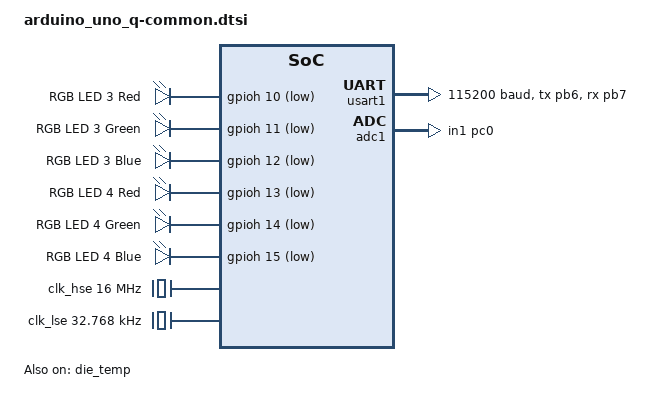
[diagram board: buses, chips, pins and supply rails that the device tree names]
/*
 * Copyright (c) 2021 Linaro Limited
 * Copyright (c) 2024 STMicroelectronics
 * Copyright (c) 2025 Arduino SA
 *
 * SPDX-License-Identifier: Apache-2.0
 */

#include <zephyr/dt-bindings/gpio/gpio.h>

/ {

	leds {
		compatible = "gpio-leds";

		led3_red: led3_red {
			gpios = <&gpioh 10 GPIO_ACTIVE_LOW>;
			label = "RGB LED 3 Red";
		};

		led3_green: led3_green {
			gpios = <&gpioh 11 GPIO_ACTIVE_LOW>;
			label = "RGB LED 3 Green";
		};

		led3_blue: led3_blue {
			gpios = <&gpioh 12 GPIO_ACTIVE_LOW>;
			label = "RGB LED 3 Blue";
		};

		led4_red: led4_red {
			gpios = <&gpioh 13 GPIO_ACTIVE_LOW>;
			label = "RGB LED 4 Red";
		};

		led4_green: led4_green {
			gpios = <&gpioh 14 GPIO_ACTIVE_LOW>;
			label = "RGB LED 4 Green";
		};

		led4_blue: led4_blue {
			gpios = <&gpioh 15 GPIO_ACTIVE_LOW>;
			label = "RGB LED 4 Blue";
		};
	};
};

&clk_hsi48 {
	status = "okay";
};

&clk_hse {
	clock-frequency = <DT_FREQ_M(16)>;
	status = "okay";
};

&clk_lse {
	clock-frequency = <32768>;
	status = "okay";
};

&clk_msis {
	status = "okay";
	msi-range = <4>;
	msi-pll-mode;
};

&pll1 {
	div-m = <1>;
	mul-n = <80>;
	div-q = <2>;
	div-r = <2>;
	clocks = <&clk_msis>;
	status = "okay";
};

&rcc {
	clocks = <&pll1>;
	clock-frequency = <DT_FREQ_M(160)>;
	ahb-prescaler = <1>;
	apb1-prescaler = <1>;
	apb2-prescaler = <1>;
	apb3-prescaler = <1>;
};

&usart1 {
	pinctrl-0 = <&usart1_tx_pb6 &usart1_rx_pb7>;
	pinctrl-names = "default";
	current-speed = <115200>;
	status = "okay";
};

&adc1 {
	pinctrl-0 = <&adc1_in1_pc0>;
	pinctrl-names = "default";
};

&die_temp {
	status = "okay";
};

&gpioh {
	status = "okay";
};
